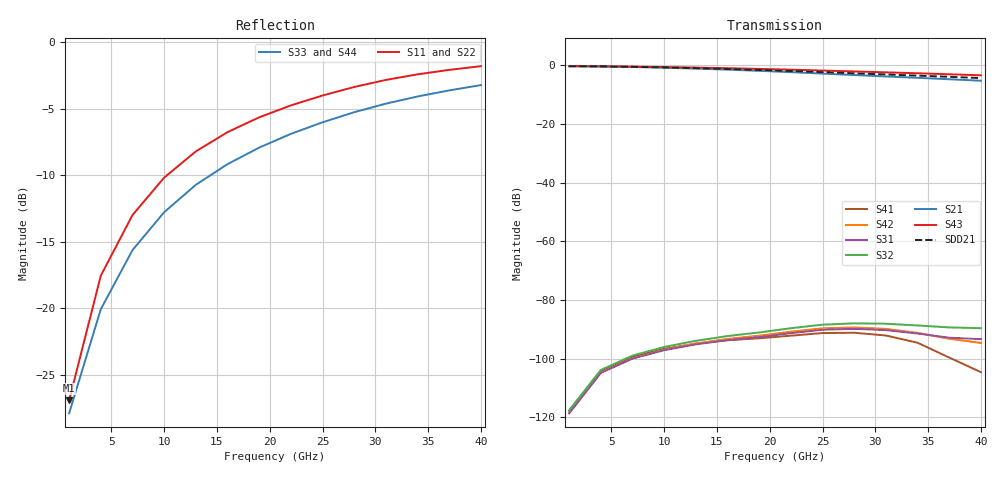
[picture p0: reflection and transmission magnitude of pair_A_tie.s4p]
! compare.py: results/pair_A_cosim.s5p with port 5 (the tie) shorted
# GHz S RI R 50
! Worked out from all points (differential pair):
!   14 points, 1 GHz to 40 GHz, reference 50 ohm
!   strongest paths, dB at 1 GHz, 10 GHz, 22 GHz, 31 GHz, 40 GHz:
!     S43: -0.3, -0.6, -1.5, -2.4, -3.4
!     S21: -0.3, -0.8, -2.3, -3.8, -5.3
!     S32: -117.6, -96.1, -89.7, -88.1, -89.6
!     S31: -118.7, -97.2, -91.4, -90.3, -93.4
!     S42: -118.7, -97.0, -90.8, -89.9, -94.7
!     S41: -117.8, -96.7, -92.2, -92.1, -104.6
!   taken as a pair (ports 3,1 in; 4,2 out), SDD21 dB: -0.3, -0.7, -2.0, -3.1, -4.4
!   lowest |S11| = -26.9 dB at 1 GHz (marker M1), VSWR 1.09, Z = 53.4 + j3.21 ohm
!   |S11| at or under -10 dB: start of sweep to 10.26 GHz
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1  0.0336 0.0301  0.9638 -0.0393  -7.04e-07 9.29e-07  -6.77e-07 1.09e-06
   0.9638 -0.0393  0.0336 0.0301  -7.14e-07 1.1e-06  -7.08e-07 9.28e-07
   -7.04e-07 9.29e-07  -7.14e-07 1.1e-06  0.0338 0.022  0.9649 -0.028
   -6.77e-07 1.09e-06  -7.08e-07 9.28e-07  0.9649 -0.028  0.0338 0.022
4  0.0512 0.1224  0.9421 -0.1479  -9.52e-07 5.62e-06  -5.78e-07 6.18e-06
   0.9421 -0.1479  0.0514 0.1225  -1.06e-06 6.3e-06  -1.04e-06 5.63e-06
   -9.52e-07 5.62e-06  -1.06e-06 6.3e-06  0.0435 0.0892  0.9527 -0.1069
   -5.78e-07 6.18e-06  -1.04e-06 5.63e-06  0.9527 -0.1069  0.0436 0.0893
7  0.0903 0.2052  0.9017 -0.2475  -8.48e-07 9.95e-06  1.87e-07 1.07e-05
   0.9017 -0.2475  0.0908 0.2053  -1.22e-06 1.12e-05  -1.12e-06 1e-05
   -8.48e-07 9.95e-06  -1.22e-06 1.12e-05  0.0653 0.1521  0.9302 -0.1815
   1.87e-07 1.07e-05  -1.12e-06 1e-05  0.9302 -0.1815  0.0655 0.1522
13  0.2104 0.3273  0.7784 -0.4044  -7.23e-07 1.74e-05  2.26e-06 1.78e-05
    0.7784 -0.4044  0.2116 0.3271  -2e-06 2e-05  -1.39e-06 1.79e-05
    -7.23e-07 1.74e-05  -2e-06 2e-05  0.1355 0.2579  0.8583 -0.3116
    2.26e-06 1.78e-05  -1.39e-06 1.79e-05  0.8583 -0.3116  0.1362 0.258
19  0.3514 0.3868  0.6303 -0.4984  -1.5e-06 2.31e-05  3.61e-06 2.19e-05
    0.6303 -0.4984  0.3533 0.3857  -3.76e-06 2.76e-05  -2.19e-06 2.44e-05
    -1.5e-06 2.31e-05  -3.76e-06 2.76e-05  0.2262 0.3325  0.7641 -0.4102
    3.61e-06 2.19e-05  -2.19e-06 2.44e-05  0.7641 -0.4102  0.2274 0.3321
25  0.4895 0.3985  0.483 -0.5359  -3.23e-06 3.08e-05  3.7e-06 2.7e-05
    0.483 -0.5359  0.4919 0.3963  -6.34e-06 3.73e-05  -3.39e-06 3.25e-05
    -3.23e-06 3.08e-05  -6.34e-06 3.73e-05  0.327 0.379  0.6585 -0.477
    3.7e-06 2.7e-05  -3.39e-06 3.25e-05  0.6585 -0.477  0.3289 0.378
40  0.7683 0.2681  0.2104 -0.5029  -1.46e-05 1.57e-05  -5.43e-06 2.23e-06
    0.2104 -0.5029  0.7722 0.2618  -1.92e-05 2.67e-05  -1.22e-05 1.38e-05
    -1.46e-05 1.57e-05  -1.92e-05 2.67e-05  0.5804 0.3747  0.4077 -0.5372
    -5.43e-06 2.23e-06  -1.22e-05 1.38e-05  0.4077 -0.5372  0.5838 0.3713
